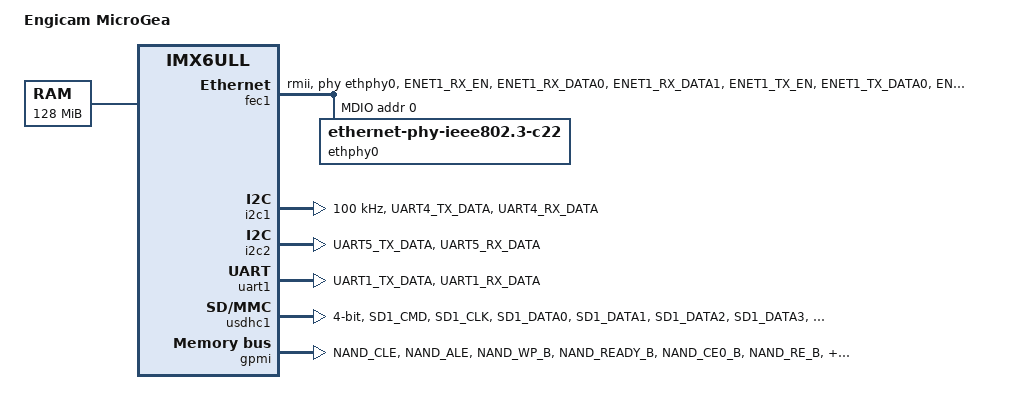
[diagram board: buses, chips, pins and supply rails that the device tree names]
/*
 * Copyright (C) 2016 Amarula Solutions B.V.
 * Copyright (C) 2016 Engicam S.r.l.
 *
 * This file is dual-licensed: you can use it either under the terms
 * of the GPL or the X11 license, at your option. Note that this dual
 * licensing only applies to this file, and not this project as a
 * whole.
 *
 *  a) This file is free software; you can redistribute it and/or
 *     modify it under the terms of the GNU General Public License
 *     version 2 as published by the Free Software Foundation.
 *
 *     This file is distributed in the hope that it will be useful
 *     but WITHOUT ANY WARRANTY; without even the implied warranty of
 *     MERCHANTABILITY or FITNESS FOR A PARTICULAR PURPOSE.  See the
 *     GNU General Public License for more details.
 *
 * Or, alternatively
 *
 *  b) Permission is hereby granted, free of charge, to any person
 *     obtaining a copy of this software and associated documentation
 *     files (the "Software"), to deal in the Software without
 *     restriction, including without limitation the rights to use
 *     copy, modify, merge, publish, distribute, sublicense, and/or
 *     sell copies of the Software, and to permit persons to whom the
 *     Software is furnished to do so, subject to the following
 *     conditions:
 *
 *     The above copyright notice and this permission notice shall be
 *     included in all copies or substantial portions of the Software.
 *
 *     THE SOFTWARE IS PROVIDED , WITHOUT WARRANTY OF ANY KIND
 *     EXPRESS OR IMPLIED, INCLUDING BUT NOT LIMITED TO THE WARRANTIES
 *     OF MERCHANTABILITY, FITNESS FOR A PARTICULAR PURPOSE AND
 *     NONINFRINGEMENT. IN NO EVENT SHALL THE AUTHORS OR COPYRIGHT
 *     HOLDERS BE LIABLE FOR ANY CLAIM, DAMAGES OR OTHER LIABILITY
 *     WHETHER IN AN ACTION OF CONTRACT, TORT OR OTHERWISE, ARISING
 *     FROM, OUT OF OR IN CONNECTION WITH THE SOFTWARE OR THE USE OR
 *     OTHER DEALINGS IN THE SOFTWARE.
 */

/dts-v1/;

#include <dt-bindings/gpio/gpio.h>
#include <dt-bindings/input/input.h>
#include "imx6ul.dtsi"

/ {
	model = "Engicam MicroGea";
	compatible = "engicam,imx6ul-geam", "fsl,imx6ull";

	memory {
		reg = <0x80000000 0x08000000>;
	};

	chosen {
		stdout-path = &uart1;
	};
};

&fec1 {
	pinctrl-names = "default";
	pinctrl-0 = <&pinctrl_enet1>;
	phy-mode = "rmii";
    phy-handle = <&ethphy0>;
	phy-reset-gpios = <&gpio5 9 GPIO_ACTIVE_LOW>;
	phy-reset-duration = <100>;
	status = "okay";
	
    mdio {
        #address-cells = <1>;
        #size-cells = <0>;

        ethphy0: ethernet-phy@0 {
            compatible = "ethernet-phy-ieee802.3-c22";
            reg = <0>;
        };
    };
};

&i2c1 {
	clock-frequency = <100000>;
	pinctrl-names = "default";
	pinctrl-0 = <&pinctrl_i2c1>;
	status = "okay";
};

&i2c2 {
	clock_frequency = <100000>;
	pinctrl-names = "default";
	pinctrl-0 = <&pinctrl_i2c2>;
	status = "okay";
};

&uart1 {
	pinctrl-names = "default";
	pinctrl-0 = <&pinctrl_uart1>;
	status = "okay";
};

&usdhc1 {
	pinctrl-names = "default", "state_100mhz", "state_200mhz";
	pinctrl-0 = <&pinctrl_usdhc1>;
	pinctrl-1 = <&pinctrl_usdhc1_100mhz>;
	pinctrl-2 = <&pinctrl_usdhc1_200mhz>;
	bus-width = <4>;
	cd-gpios = <&gpio1 19 GPIO_ACTIVE_LOW>;
	no-1-8-v;
	status = "okay";
};

&gpmi {
	pinctrl-names = "default";
	pinctrl-0 = <&pinctrl_gpmi_nand_1>;
	status = "okay";
	nand-on-flash-bbt;
};

&iomuxc {
	imx6ull-evk-gpmi-rework {
		pinctrl_gpmi_nand_1: gpmi-nand-1 {
			fsl,pins = <
				MX6UL_PAD_NAND_CLE__RAWNAND_CLE         0xb0b1
				MX6UL_PAD_NAND_ALE__RAWNAND_ALE         0xb0b1
				MX6UL_PAD_NAND_WP_B__RAWNAND_WP_B       0xb0b1
				MX6UL_PAD_NAND_READY_B__RAWNAND_READY_B 0xb000
				MX6UL_PAD_NAND_CE0_B__RAWNAND_CE0_B     0xb0b1
				MX6UL_PAD_NAND_RE_B__RAWNAND_RE_B       0xb0b1
				MX6UL_PAD_NAND_WE_B__RAWNAND_WE_B       0xb0b1
				MX6UL_PAD_NAND_DATA00__RAWNAND_DATA00   0xb0b1
				MX6UL_PAD_NAND_DATA01__RAWNAND_DATA01   0xb0b1
				MX6UL_PAD_NAND_DATA02__RAWNAND_DATA02   0xb0b1
				MX6UL_PAD_NAND_DATA03__RAWNAND_DATA03   0xb0b1
				MX6UL_PAD_NAND_DATA04__RAWNAND_DATA04   0xb0b1
				MX6UL_PAD_NAND_DATA05__RAWNAND_DATA05   0xb0b1
				MX6UL_PAD_NAND_DATA06__RAWNAND_DATA06   0xb0b1
				MX6UL_PAD_NAND_DATA07__RAWNAND_DATA07   0xb0b1
			>;
		};
	};
};


&iomuxc {
	pinctrl_enet1: enet1grp {
		fsl,pins = <		
				MX6UL_PAD_ENET1_RX_EN__ENET1_RX_EN	0x1b0b0
				MX6UL_PAD_ENET1_RX_DATA0__ENET1_RDATA00	0x1b0b0
				MX6UL_PAD_ENET1_RX_DATA1__ENET1_RDATA01	0x1b0b0
				MX6UL_PAD_ENET1_TX_EN__ENET1_TX_EN	0x1b0b0
				MX6UL_PAD_ENET1_TX_DATA0__ENET1_TDATA00	0x1b0b0
				MX6UL_PAD_ENET1_TX_DATA1__ENET1_TDATA01	0x1b0b0
				MX6UL_PAD_ENET1_TX_CLK__ENET1_REF_CLK1	0x4001b031
				MX6UL_PAD_GPIO1_IO07__ENET1_MDC		0x1b0b0
				MX6UL_PAD_GPIO1_IO06__ENET1_MDIO	0x1b0b0
				MX6UL_PAD_SNVS_TAMPER9__GPIO5_IO09 0x1b0b0
		>;
	};

	pinctrl_i2c1: i2c1grp {
		fsl,pins = <
			MX6UL_PAD_UART4_TX_DATA__I2C1_SCL 0x4001b8b0
			MX6UL_PAD_UART4_RX_DATA__I2C1_SDA 0x4001b8b0
		>;
	};

	pinctrl_i2c2: i2c2grp {
			fsl,pins = <
			MX6UL_PAD_UART5_TX_DATA__I2C2_SCL 0x4001b8b0
			MX6UL_PAD_UART5_RX_DATA__I2C2_SDA 0x4001b8b0
		>;
	};

	pinctrl_uart1: uart1grp {
		fsl,pins = <
			MX6UL_PAD_UART1_TX_DATA__UART1_DCE_TX 0x1b0b1
			MX6UL_PAD_UART1_RX_DATA__UART1_DCE_RX 0x1b0b1
		>;
	};

	pinctrl_usdhc1: usdhc1grp {
		fsl,pins = <
			MX6UL_PAD_SD1_CMD__USDHC1_CMD     0x17059
			MX6UL_PAD_SD1_CLK__USDHC1_CLK     0x10059
			MX6UL_PAD_SD1_DATA0__USDHC1_DATA0 0x17059
			MX6UL_PAD_SD1_DATA1__USDHC1_DATA1 0x17059
			MX6UL_PAD_SD1_DATA2__USDHC1_DATA2 0x17059
			MX6UL_PAD_SD1_DATA3__USDHC1_DATA3 0x17059
		>;
	};

	pinctrl_usdhc1_100mhz: usdhc1grp100mhz {
		fsl,pins = <
			MX6UL_PAD_SD1_CMD__USDHC1_CMD     0x170b9
			MX6UL_PAD_SD1_CLK__USDHC1_CLK     0x100b9
			MX6UL_PAD_SD1_DATA0__USDHC1_DATA0 0x170b9
			MX6UL_PAD_SD1_DATA1__USDHC1_DATA1 0x170b9
			MX6UL_PAD_SD1_DATA2__USDHC1_DATA2 0x170b9
			MX6UL_PAD_SD1_DATA3__USDHC1_DATA3 0x170b9
		>;
	};

	pinctrl_usdhc1_200mhz: usdhc1grp200mhz {
		fsl,pins = <
			MX6UL_PAD_SD1_CMD__USDHC1_CMD     0x170f9
			MX6UL_PAD_SD1_CLK__USDHC1_CLK     0x100f9
			MX6UL_PAD_SD1_DATA0__USDHC1_DATA0 0x170f9
			MX6UL_PAD_SD1_DATA1__USDHC1_DATA1 0x170f9
			MX6UL_PAD_SD1_DATA2__USDHC1_DATA2 0x170f9
			MX6UL_PAD_SD1_DATA3__USDHC1_DATA3 0x170f9
		>;
	};
};
